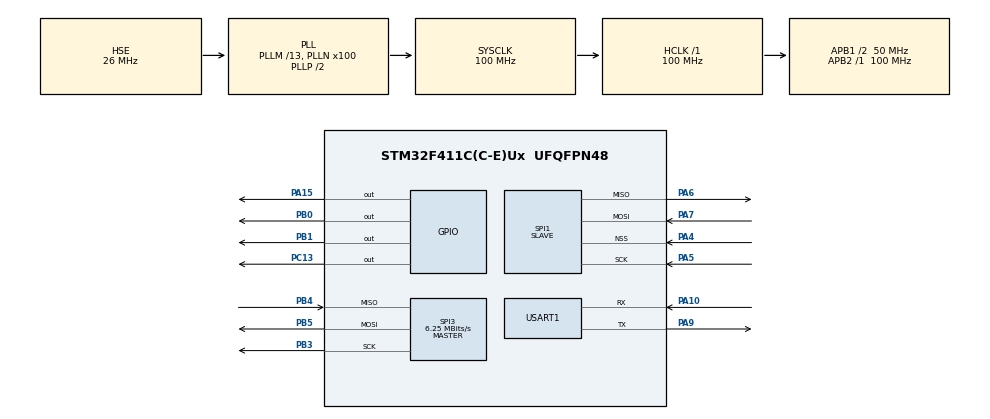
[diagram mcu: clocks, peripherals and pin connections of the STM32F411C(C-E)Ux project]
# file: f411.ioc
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Dma.Request0=SPI1_RX
Dma.Request1=SPI1_TX
Dma.SPI1_RX.0.Direction=DMA_PERIPH_TO_MEMORY
Dma.SPI1_RX.0.FIFOMode=DMA_FIFOMODE_DISABLE
Dma.SPI1_RX.0.Instance=DMA2_Stream0
Dma.SPI1_RX.0.MemDataAlignment=DMA_MDATAALIGN_BYTE
Dma.SPI1_RX.0.MemInc=DMA_MINC_ENABLE
Dma.SPI1_RX.0.Mode=DMA_NORMAL
Dma.SPI1_RX.0.PeriphDataAlignment=DMA_PDATAALIGN_BYTE
Dma.SPI1_RX.0.PeriphInc=DMA_PINC_DISABLE
Dma.SPI1_RX.0.Priority=DMA_PRIORITY_LOW
Dma.SPI1_TX.1.Direction=DMA_MEMORY_TO_PERIPH
Dma.SPI1_TX.1.FIFOMode=DMA_FIFOMODE_DISABLE
Dma.SPI1_TX.1.Instance=DMA2_Stream2
Dma.SPI1_TX.1.MemDataAlignment=DMA_MDATAALIGN_BYTE
Dma.SPI1_TX.1.MemInc=DMA_MINC_ENABLE
Dma.SPI1_TX.1.Mode=DMA_NORMAL
Dma.SPI1_TX.1.PeriphDataAlignment=DMA_PDATAALIGN_BYTE
Dma.SPI1_TX.1.PeriphInc=DMA_PINC_DISABLE
Dma.SPI1_TX.1.Priority=DMA_PRIORITY_LOW
FATFS._MAX_SS=4096
FATFS._USE_LFN=1
Mcu.Family=STM32F4
Mcu.Name=STM32F411C(C-E)Ux
Mcu.Package=UFQFPN48
NVIC.DMA2_Stream0_IRQn=true\:0\:0\:false\:false\:true\:false\:true\:true
NVIC.DMA2_Stream2_IRQn=true\:0\:0\:false\:false\:true\:false\:true\:true
NVIC.PriorityGroup=NVIC_PRIORITYGROUP_4
NVIC.SPI1_IRQn=true\:0\:0\:false\:false\:true\:true\:true\:true
PA10.Mode=Asynchronous
PA10.Signal=USART1_RX
PA13.Mode=Serial_Wire
PA13.Signal=SYS_JTMS-SWDIO
PA14.Mode=Serial_Wire
PA14.Signal=SYS_JTCK-SWCLK
PA15.Signal=GPIO_Output
PA4.Mode=NSS_Signal_Hard_Input
PA4.Signal=SPI1_NSS
PA5.Mode=Full_Duplex_Slave
PA5.Signal=SPI1_SCK
PA6.Mode=Full_Duplex_Slave
PA6.Signal=SPI1_MISO
PA7.Mode=Full_Duplex_Slave
PA7.Signal=SPI1_MOSI
PA8.GPIO_Speed=GPIO_SPEED_FREQ_MEDIUM
PA8.Signal=S_TIM1_CH1
PA9.Mode=Asynchronous
PA9.Signal=USART1_TX
PB0.Signal=GPIO_Output
PB1.Signal=GPIO_Output
PB3.Mode=Full_Duplex_Master
PB3.Signal=SPI3_SCK
PB4.Mode=Full_Duplex_Master
PB4.Signal=SPI3_MISO
PB5.Mode=Full_Duplex_Master
PB5.Signal=SPI3_MOSI
PB6.Signal=I2C1_SCL
PB7.Signal=I2C1_SDA
PC13-ANTI_TAMP.Signal=GPIO_Output
PH0\ -\ OSC_IN.Mode=HSE-External-Oscillator
PH0\ -\ OSC_IN.Signal=RCC_OSC_IN
PH1\ -\ OSC_OUT.Mode=HSE-External-Oscillator
PH1\ -\ OSC_OUT.Signal=RCC_OSC_OUT
ProjectManager.HeapSize=0x200
ProjectManager.StackSize=0x400
ProjectManager.TargetToolchain=STM32CubeIDE
RCC.48MHZClocksFreq_Value=50000000
RCC.AHBFreq_Value=100000000
RCC.APB1CLKDivider=RCC_HCLK_DIV2
RCC.APB1Freq_Value=50000000
RCC.APB1TimFreq_Value=100000000
RCC.APB2Freq_Value=100000000
RCC.APB2TimFreq_Value=100000000
RCC.CortexFreq_Value=100000000
RCC.HCLKFreq_Value=100000000
RCC.HSE_VALUE=26000000
RCC.HSI_VALUE=16000000
RCC.LSE_VALUE=32768
RCC.PLLM=13
RCC.PLLN=100
RCC.PLLSourceVirtual=RCC_PLLSOURCE_HSE
RCC.SYSCLKFreq_VALUE=100000000
RCC.SYSCLKSource=RCC_SYSCLKSOURCE_PLLCLK
RCC.VCOOutputFreq_Value=200000000
SH.S_TIM1_CH1.0=TIM1_CH1
SPI1.CLKPhase=SPI_PHASE_2EDGE
SPI1.CLKPolarity=SPI_POLARITY_HIGH
SPI1.Direction=SPI_DIRECTION_2LINES
SPI1.Mode=SPI_MODE_SLAVE
SPI1.VirtualNSS=VM_NSSHARD
SPI1.VirtualType=VM_SLAVE
SPI3.BaudRatePrescaler=SPI_BAUDRATEPRESCALER_8
SPI3.CalculateBaudRate=6.25 MBits/s
SPI3.Direction=SPI_DIRECTION_2LINES
SPI3.Mode=SPI_MODE_MASTER
SPI3.VirtualType=VM_MASTER
USART1.VirtualMode=VM_ASYNC
VP_FATFS_VS_Generic.Mode=User_defined
board=custom

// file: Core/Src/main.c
/* USER CODE BEGIN Header */
/**
  ******************************************************************************
  * @file           : main.c
  * @brief          : Main program body
  ******************************************************************************
  * @attention
  *
  * Copyright (c) 2022 STMicroelectronics.
  * All rights reserved.
  *
  * This software is licensed under terms that can be found in the LICENSE file
  * in the root directory of this software component.
  * If no LICENSE file comes with this software, it is provided AS-IS.
  *
  ******************************************************************************
  */
/* USER CODE END Header */
#include "main.h"
#include "fatfs.h"

/* USER CODE BEGIN PM */
#include "stm32f4xx_hal_spi.h"

/* USER CODE END PM */

SPI_HandleTypeDef hspi1;
SPI_HandleTypeDef hspi3;
DMA_HandleTypeDef hdma_spi1_rx;
DMA_HandleTypeDef hdma_spi1_tx;

UART_HandleTypeDef huart1;

void SystemClock_Config(void);
static void MX_GPIO_Init(void);
static void MX_DMA_Init(void);
static void MX_USART1_UART_Init(void);
static void MX_SPI3_Init(void);
static void MX_SPI1_Init(void);

/* USER CODE BEGIN 0 */
uint8_t UART2_rxBuffer[26] = {0};

//void HAL_UART_RxCpltCallback(UART_HandleTypeDef *huart)
//{
//    HAL_UART_Transmit(&huart2, UART2_rxBuffer, 26, 100);
//    USART_ITConfig(USARTx, USART_IT_RXNE)
//    USART_ClearITPendingBit(USART2, USART_IT_RXNE);
//    HAL_UART_Receive_IT(&huart2, UART2_rxBuffer, 26);
//}

#define RxBuf_SIZE 10
#define MainBuf_SIZE 20

uint8_t MainBuf[MainBuf_SIZE];
uint8_t RxBuf[RxBuf_SIZE];

void HAL_UARTEx_RxEventCallback(UART_HandleTypeDef *huart, uint16_t Size)
{
	if (huart->Instance == USART2)
	{

		memcpy ((uint8_t *) MainBuf, RxBuf, Size);

		/* start the DMA again */
		HAL_UARTEx_ReceiveToIdle_DMA(&huart2, (uint8_t *) RxBuf, RxBuf_SIZE);
		__HAL_DMA_DISABLE_IT(&hdma_usart2_rx, DMA_IT_HT);

	}
}

void HAL_UART_ErrorCallback(UART_HandleTypeDef *huart)
{
    printf("ERROR\n");

    if (huart->Instance == USART2)
    {
        printf("ERROR 2\n");
        HAL_UART_DeInit(&huart);
        HAL_UART_Init(&huart);

        HAL_UARTEx_ReceiveToIdle_DMA(&huart2, RxBuf, RxBuf_SIZE);
        __HAL_DMA_DISABLE_IT(&hdma_usart2_rx, DMA_IT_HT);
        // MX_USART2_UART_Init();
        // HAL_UART_DeInit(&huart);
        printf("Er 3\n");

    }

    // Code to handle the UART error
}

/* USER CODE END 0 */

int main(void)
{

  /* MCU Configuration--------------------------------------------------------*/

  /* Reset of all peripherals, Initializes the Flash interface and the Systick. */
  HAL_Init();

  /* Configure the system clock */
  SystemClock_Config();

  /* Initialize all configured peripherals */
  MX_GPIO_Init();
  MX_DMA_Init();
  MX_USART1_UART_Init();
  MX_SPI3_Init();
  MX_FATFS_Init();
  MX_SPI1_Init();
  /* USER CODE BEGIN 2 */
  HAL_UARTEx_ReceiveToIdle_DMA(&huart2, RxBuf, RxBuf_SIZE);
  __HAL_DMA_DISABLE_IT(&hdma_usart2_rx, DMA_IT_HT);
//  HAL_UART_Receive_IT(&huart2, UART2_rxBuffer, 26);
  HAL_StatusTypeDef ret;

  uint8_t data = 20;
  HAL_GPIO_WritePin(GPIOB, GPIO_PIN_5, GPIO_PIN_RESET);
  ret = HAL_SPI_Transmit(&hspi1, &data, 1, 5000);

  HAL_GPIO_WritePin(GPIOB, GPIO_PIN_5, GPIO_PIN_SET);

  uint8_t sdasd = 0;
  if(ret == HAL_ERROR){
      sdasd = 23123;
  }else{
	  sdasd = 1;
  }
  /* USER CODE END 2 */

  /* Infinite loop */
  while (1)
  {

    /* USER CODE BEGIN 3 */
//      strcpy((char*)buffer, "Hello!\r\n");
//      HAL_UART_Transmit(&huart1, buffer, strlen((char*)buffer), 1000);
  }
  /* USER CODE END 3 */
}

void SystemClock_Config(void)
{
  RCC_OscInitTypeDef RCC_OscInitStruct = {0};
  RCC_ClkInitTypeDef RCC_ClkInitStruct = {0};

  /** Configure the main internal regulator output voltage
  */
  __HAL_RCC_PWR_CLK_ENABLE();
  __HAL_PWR_VOLTAGESCALING_CONFIG(PWR_REGULATOR_VOLTAGE_SCALE1);

  /** Initializes the RCC Oscillators according to the specified parameters
  * in the RCC_OscInitTypeDef structure.
  */
  RCC_OscInitStruct.OscillatorType = RCC_OSCILLATORTYPE_HSE;
  RCC_OscInitStruct.HSEState = RCC_HSE_ON;
  RCC_OscInitStruct.PLL.PLLState = RCC_PLL_ON;
  RCC_OscInitStruct.PLL.PLLSource = RCC_PLLSOURCE_HSE;
  RCC_OscInitStruct.PLL.PLLM = 13;
  RCC_OscInitStruct.PLL.PLLN = 100;
  RCC_OscInitStruct.PLL.PLLP = RCC_PLLP_DIV2;
  RCC_OscInitStruct.PLL.PLLQ = 4;
  if (HAL_RCC_OscConfig(&RCC_OscInitStruct) != HAL_OK)
  {
    Error_Handler();
  }

  /** Initializes the CPU, AHB and APB buses clocks
  */
  RCC_ClkInitStruct.ClockType = RCC_CLOCKTYPE_HCLK|RCC_CLOCKTYPE_SYSCLK
                              |RCC_CLOCKTYPE_PCLK1|RCC_CLOCKTYPE_PCLK2;
  RCC_ClkInitStruct.SYSCLKSource = RCC_SYSCLKSOURCE_PLLCLK;
  RCC_ClkInitStruct.AHBCLKDivider = RCC_SYSCLK_DIV1;
  RCC_ClkInitStruct.APB1CLKDivider = RCC_HCLK_DIV2;
  RCC_ClkInitStruct.APB2CLKDivider = RCC_HCLK_DIV1;

  if (HAL_RCC_ClockConfig(&RCC_ClkInitStruct, FLASH_LATENCY_3) != HAL_OK)
  {
    Error_Handler();
  }
}

static void MX_SPI1_Init(void)
{

  /* SPI1 parameter configuration*/
  hspi1.Instance = SPI1;
  hspi1.Init.Mode = SPI_MODE_SLAVE;
  hspi1.Init.Direction = SPI_DIRECTION_2LINES;
  hspi1.Init.DataSize = SPI_DATASIZE_8BIT;
  hspi1.Init.CLKPolarity = SPI_POLARITY_HIGH;
  hspi1.Init.CLKPhase = SPI_PHASE_2EDGE;
  hspi1.Init.NSS = SPI_NSS_HARD_INPUT;
  hspi1.Init.FirstBit = SPI_FIRSTBIT_MSB;
  hspi1.Init.TIMode = SPI_TIMODE_DISABLE;
  hspi1.Init.CRCCalculation = SPI_CRCCALCULATION_DISABLE;
  hspi1.Init.CRCPolynomial = 10;
  if (HAL_SPI_Init(&hspi1) != HAL_OK)
  {
    Error_Handler();
  }

}

static void MX_SPI3_Init(void)
{

  /* SPI3 parameter configuration*/
  hspi3.Instance = SPI3;
  hspi3.Init.Mode = SPI_MODE_MASTER;
  hspi3.Init.Direction = SPI_DIRECTION_2LINES;
  hspi3.Init.DataSize = SPI_DATASIZE_8BIT;
  hspi3.Init.CLKPolarity = SPI_POLARITY_LOW;
  hspi3.Init.CLKPhase = SPI_PHASE_1EDGE;
  hspi3.Init.NSS = SPI_NSS_SOFT;
  hspi3.Init.BaudRatePrescaler = SPI_BAUDRATEPRESCALER_8;
  hspi3.Init.FirstBit = SPI_FIRSTBIT_MSB;
  hspi3.Init.TIMode = SPI_TIMODE_DISABLE;
  hspi3.Init.CRCCalculation = SPI_CRCCALCULATION_DISABLE;
  hspi3.Init.CRCPolynomial = 10;
  if (HAL_SPI_Init(&hspi3) != HAL_OK)
  {
    Error_Handler();
  }

}

static void MX_USART1_UART_Init(void)
{

  huart1.Instance = USART1;
  huart1.Init.BaudRate = 115200;
  huart1.Init.WordLength = UART_WORDLENGTH_8B;
  huart1.Init.StopBits = UART_STOPBITS_1;
  huart1.Init.Parity = UART_PARITY_NONE;
  huart1.Init.Mode = UART_MODE_TX_RX;
  huart1.Init.HwFlowCtl = UART_HWCONTROL_NONE;
  huart1.Init.OverSampling = UART_OVERSAMPLING_16;
  if (HAL_UART_Init(&huart1) != HAL_OK)
  {
    Error_Handler();
  }

}

static void MX_DMA_Init(void)
{

  /* DMA controller clock enable */
  __HAL_RCC_DMA2_CLK_ENABLE();

  /* DMA interrupt init */
  /* DMA2_Stream0_IRQn interrupt configuration */
  HAL_NVIC_SetPriority(DMA2_Stream0_IRQn, 0, 0);
  HAL_NVIC_EnableIRQ(DMA2_Stream0_IRQn);
  /* DMA2_Stream2_IRQn interrupt configuration */
  HAL_NVIC_SetPriority(DMA2_Stream2_IRQn, 0, 0);
  HAL_NVIC_EnableIRQ(DMA2_Stream2_IRQn);

}

static void MX_GPIO_Init(void)
{
  GPIO_InitTypeDef GPIO_InitStruct = {0};

  /* GPIO Ports Clock Enable */
  __HAL_RCC_GPIOC_CLK_ENABLE();
  __HAL_RCC_GPIOH_CLK_ENABLE();
  __HAL_RCC_GPIOA_CLK_ENABLE();
  __HAL_RCC_GPIOB_CLK_ENABLE();

  /*Configure GPIO pin Output Level */
  HAL_GPIO_WritePin(GPIOC, GPIO_PIN_13, GPIO_PIN_RESET);

  /*Configure GPIO pin Output Level */
  HAL_GPIO_WritePin(GPIOB, GPIO_PIN_0|GPIO_PIN_1, GPIO_PIN_RESET);

  /*Configure GPIO pin Output Level */
  HAL_GPIO_WritePin(GPIOA, GPIO_PIN_15, GPIO_PIN_RESET);

  /*Configure GPIO pin : PC13 */
  GPIO_InitStruct.Pin = GPIO_PIN_13;
  GPIO_InitStruct.Mode = GPIO_MODE_OUTPUT_PP;
  GPIO_InitStruct.Pull = GPIO_NOPULL;
  GPIO_InitStruct.Speed = GPIO_SPEED_FREQ_LOW;
  HAL_GPIO_Init(GPIOC, &GPIO_InitStruct);

  /*Configure GPIO pins : PB0 PB1 */
  GPIO_InitStruct.Pin = GPIO_PIN_0|GPIO_PIN_1;
  GPIO_InitStruct.Mode = GPIO_MODE_OUTPUT_PP;
  GPIO_InitStruct.Pull = GPIO_NOPULL;
  GPIO_InitStruct.Speed = GPIO_SPEED_FREQ_LOW;
  HAL_GPIO_Init(GPIOB, &GPIO_InitStruct);

  /*Configure GPIO pin : PA8 */
  GPIO_InitStruct.Pin = GPIO_PIN_8;
  GPIO_InitStruct.Mode = GPIO_MODE_AF_PP;
  GPIO_InitStruct.Pull = GPIO_NOPULL;
  GPIO_InitStruct.Speed = GPIO_SPEED_FREQ_MEDIUM;
  GPIO_InitStruct.Alternate = GPIO_AF1_TIM1;
  HAL_GPIO_Init(GPIOA, &GPIO_InitStruct);

  /*Configure GPIO pin : PA15 */
  GPIO_InitStruct.Pin = GPIO_PIN_15;
  GPIO_InitStruct.Mode = GPIO_MODE_OUTPUT_PP;
  GPIO_InitStruct.Pull = GPIO_NOPULL;
  GPIO_InitStruct.Speed = GPIO_SPEED_FREQ_LOW;
  HAL_GPIO_Init(GPIOA, &GPIO_InitStruct);

  /*Configure GPIO pins : PB6 PB7 */
  GPIO_InitStruct.Pin = GPIO_PIN_6|GPIO_PIN_7;
  GPIO_InitStruct.Mode = GPIO_MODE_AF_OD;
  GPIO_InitStruct.Pull = GPIO_NOPULL;
  GPIO_InitStruct.Speed = GPIO_SPEED_FREQ_VERY_HIGH;
  GPIO_InitStruct.Alternate = GPIO_AF4_I2C1;
  HAL_GPIO_Init(GPIOB, &GPIO_InitStruct);

}

void Error_Handler(void)
{
  __disable_irq();
  while (1)
  {
  }
}
